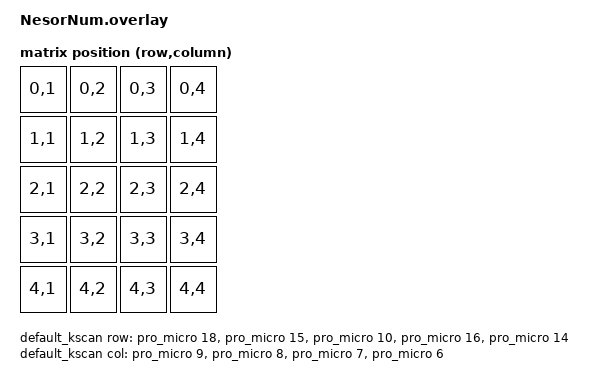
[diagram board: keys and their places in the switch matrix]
#include <dt-bindings/zmk/matrix_transform.h> 

/ {
    chosen {
        zmk,kscan = &default_kscan;
		zmk,physical-layout = &nesornum_layout;
//      zmk,matrix_transform = &default_transform;
    };

    default_kscan: kscan {
        compatible = "zmk,kscan-gpio-matrix";
        label = "default_kscan";
        diode-direction = "col2row";
        wakeup-source;

        row-gpios = <&pro_micro 18 (GPIO_ACTIVE_HIGH | GPIO_PULL_DOWN)>,
                    <&pro_micro 15 (GPIO_ACTIVE_HIGH | GPIO_PULL_DOWN)>,
                    <&pro_micro 10 (GPIO_ACTIVE_HIGH | GPIO_PULL_DOWN)>,
                    <&pro_micro 16 (GPIO_ACTIVE_HIGH | GPIO_PULL_DOWN)>,
                    <&pro_micro 14 (GPIO_ACTIVE_HIGH | GPIO_PULL_DOWN)>;

        col-gpios = <&pro_micro 9 GPIO_ACTIVE_HIGH>,
                    <&pro_micro 8 GPIO_ACTIVE_HIGH>,
                    <&pro_micro 7 GPIO_ACTIVE_HIGH>,
                    <&pro_micro 6 GPIO_ACTIVE_HIGH>;      
    };

	nesornum_transform: keymap_transform_10u {
		compatible = "zmk,matrix-transform";

		columns = <4>;
		rows = <5>;
	
		map = <
        RC(0,1) RC(0,2) RC(0,3) RC(0,4)
        RC(1,1) RC(1,2) RC(1,3) RC(1,4)
        RC(2,1) RC(2,2) RC(2,3) RC(2,4)
        RC(3,1) RC(3,2) RC(3,3) RC(3,4)
        RC(4,1) RC(4,2) RC(4,3) RC(4,4)
		>;
	};

    nesornum_layout: nesornum_layout {
		compatible = "zmk,physical-layout";
		display-name = "NesorNum";
		
		transform = <&nesornum_transform>;
		
		keys
			= <&key_physical_attrs 100 100 000  53   700  300 338>
			, <&key_physical_attrs 100 100 100  28   700  300 338>
			, <&key_physical_attrs 100 100 200  03   700  300 338>
			, <&key_physical_attrs 100 100 300  28   700  300 338>
			, <&key_physical_attrs 100 100 400  38   700  300 338>

			, <&key_physical_attrs 100 100 000  153   700  300 338>
			, <&key_physical_attrs 100 100 100  128   700  300 338>
			, <&key_physical_attrs 100 100 200  103   700  300 338>
			, <&key_physical_attrs 100 100 300  128   700  300 338>
			, <&key_physical_attrs 100 100 400  138   700  300 338>

			, <&key_physical_attrs 100 100 000  253   700  300 338>
			, <&key_physical_attrs 100 100 100  228   700  300 338>
			, <&key_physical_attrs 100 100 200  203   700  300 338>
			, <&key_physical_attrs 100 100 300  228   700  300 338>
			, <&key_physical_attrs 100 100 400  238   700  300 338>

			, <&key_physical_attrs 100 100 000  353   700  300 338>
			, <&key_physical_attrs 100 100 100  328   700  300 338>
			, <&key_physical_attrs 100 100 200  303   700  300 338>
			, <&key_physical_attrs 100 100 300  328   700  300 338>
			, <&key_physical_attrs 100 100 400  338   700  300 338>

			, <&key_physical_attrs 100 100 000  453   700  300 338>
			, <&key_physical_attrs 100 100 100  428   700  300 338>
			, <&key_physical_attrs 100 100 200  403   700  300 338>
			, <&key_physical_attrs 100 100 300  428   700  300 338>
			, <&key_physical_attrs 100 100 400  438   700  300 338>
			;
	};
	pos_map {
		compatible = "zmk,physical-layout-position-map";

		complete;

		twelve {
			physical-layout = <&nesornum_layout>;
			positions
				= <0  1  2  3>
				, <4 5 6 7 8>
				, <9 10 11 12>
				, <13 14 15 16>
				, <17 18 19 20>;
	};



};
